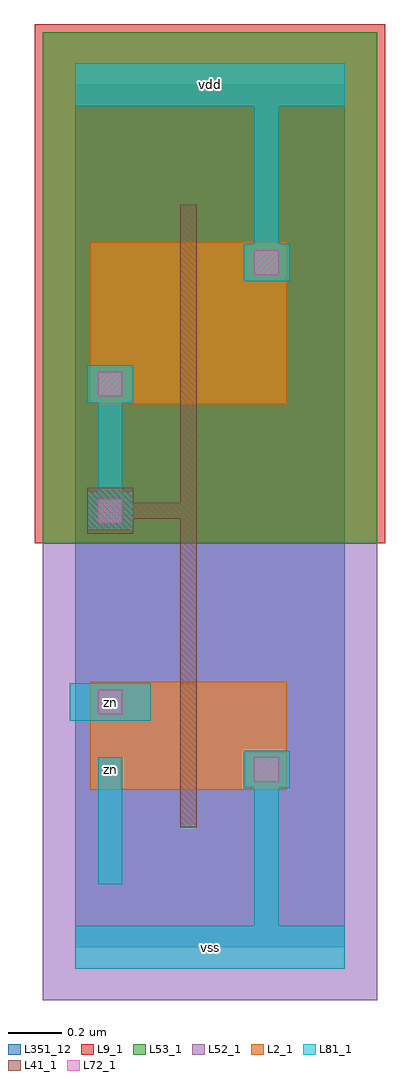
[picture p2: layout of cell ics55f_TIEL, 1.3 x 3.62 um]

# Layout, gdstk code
import gdstk
lib = gdstk.Library(unit=1e-6, precision=1e-09)
def R(c, l, rs):  # rectangles x0, y0, x1, y1
    for r in rs: c.add(gdstk.rectangle(r[:2], r[2:], *l))
def P(c, l, *ps):  # polygons
    for p in ps: c.add(gdstk.Polygon(p, *l))
L0_0 = (0, 0)
L2_1 = (2, 1)
L9_1 = (9, 1)
L41_1 = (41, 1)
L52_1 = (52, 1)
L53_1 = (53, 1)
L72_1 = (72, 1)
L81_1 = (81, 1)
L351_12 = (351, 12)

ics55f_tiel = lib.new_cell('ics55f_TIEL')
R(ics55f_tiel, L2_1, [(0.055,0.585,0.785,0.985), (0.635,0.585,0.785,0.735), (0.055,0.835,0.205,0.985), (0.055,2.015,0.785,2.615), (0.055,2.015,0.205,2.165), (0.635,2.465,0.785,2.615)])
R(ics55f_tiel, L9_1, [(-0.15,1.5,1.15,3.425)])
R(ics55f_tiel, L41_1, [(0.39,0.445,0.45,1.125), (0.39,0.88,0.45,1.65), (0.39,1.3,0.45,1.65), (0.045,1.535,0.215,1.705), (0.1,1.59,0.45,1.65), (0.39,1.59,0.45,2.12), (0.39,1.875,0.45,2.755)])
R(ics55f_tiel, L52_1, [(-0.12,-0.195,1.12,1.5)])
R(ics55f_tiel, L53_1, [(-0.12,1.5,1.12,3.395)])
R(ics55f_tiel, L72_1, [(0.665,0.615,0.755,0.705), (0.085,0.865,0.175,0.955), (0.085,1.575,0.175,1.665), (0.085,2.045,0.175,2.135), (0.665,2.495,0.755,2.585)])
R(ics55f_tiel, L81_1, [(0.085,0.235,0.175,0.705), (-0.02,0.84,0.28,0.98)])
P(ics55f_tiel, L81_1, [(0,-0.08),(0,0.08),(0.665,0.08),(0.665,0.59),(0.625,0.59),(0.625,0.73),(0.795,0.73),(0.795,0.59),(0.755,0.59),(0.755,0.08),(1,0.08),(1,-0.08)],
  [(0.045,1.55),(0.045,1.69),(0.085,1.69),(0.085,2.02),(0.045,2.02),(0.045,2.16),(0.215,2.16),(0.215,2.02),(0.175,2.02),(0.175,1.69),(0.215,1.69),(0.215,1.55)],
  [(0.625,2.47),(0.625,2.61),(0.665,2.61),(0.665,3.12),(0,3.12),(0,3.28),(1,3.28),(1,3.12),(0.755,3.12),(0.755,2.61),(0.795,2.61),(0.795,2.47)])
R(ics55f_tiel, L351_12, [(0,0,1,3.2)])
ics55f_tiel.add(gdstk.FlexPath([(0.045,0.24),(0.795,0.24)], 0, ends="flush", simple_path=True, layer=0, datatype=0))  # L0_0
ics55f_tiel.add(gdstk.FlexPath([(0.045,0.66),(0.795,0.66)], 0, ends="flush", simple_path=True, layer=0, datatype=0))  # L0_0
ics55f_tiel.add(gdstk.FlexPath([(0.045,0.91),(0.795,0.91)], 0, ends="flush", simple_path=True, layer=0, datatype=0))  # L0_0
ics55f_tiel.add(gdstk.FlexPath([(0.045,1.33),(0.795,1.33)], 0, ends="flush", simple_path=True, layer=0, datatype=0))  # L0_0
ics55f_tiel.add(gdstk.FlexPath([(0.045,1.62),(0.795,1.62)], 0, ends="flush", simple_path=True, layer=0, datatype=0))  # L0_0
ics55f_tiel.add(gdstk.FlexPath([(0.045,2.09),(0.795,2.09)], 0, ends="flush", simple_path=True, layer=0, datatype=0))  # L0_0
ics55f_tiel.add(gdstk.FlexPath([(0.045,2.54),(0.795,2.54)], 0, ends="flush", simple_path=True, layer=0, datatype=0))  # L0_0
ics55f_tiel.add(gdstk.FlexPath([(0.045,2.96),(0.795,2.96)], 0, ends="flush", simple_path=True, layer=0, datatype=0))  # L0_0
ics55f_tiel.add(gdstk.FlexPath([(0.13,0.03),(0.13,3.17)], 0, ends="flush", simple_path=True, layer=0, datatype=0))  # L0_0
ics55f_tiel.add(gdstk.FlexPath([(0.42,0.03),(0.42,3.17)], 0, ends="flush", simple_path=True, layer=0, datatype=0))  # L0_0
ics55f_tiel.add(gdstk.FlexPath([(0.71,0.03),(0.71,3.17)], 0, ends="flush", simple_path=True, layer=0, datatype=0))  # L0_0
ics55f_tiel.add(gdstk.Label('zn', (0.13,0.91), layer=2, texttype=1))
ics55f_tiel.add(gdstk.Label('zn', (0.13,0.91), layer=72, texttype=1))
ics55f_tiel.add(gdstk.Label('zn', (0.13,0.91), layer=81, texttype=6))
ics55f_tiel.add(gdstk.Label('zn', (0.13,0.66), layer=81, texttype=6))
ics55f_tiel.add(gdstk.Label('vss', (0.5,0), layer=81, texttype=6))
ics55f_tiel.add(gdstk.Label('vdd', (0.5,3.2), layer=81, texttype=6))

lib.write_gds('ics55f_TIEL.gds')
